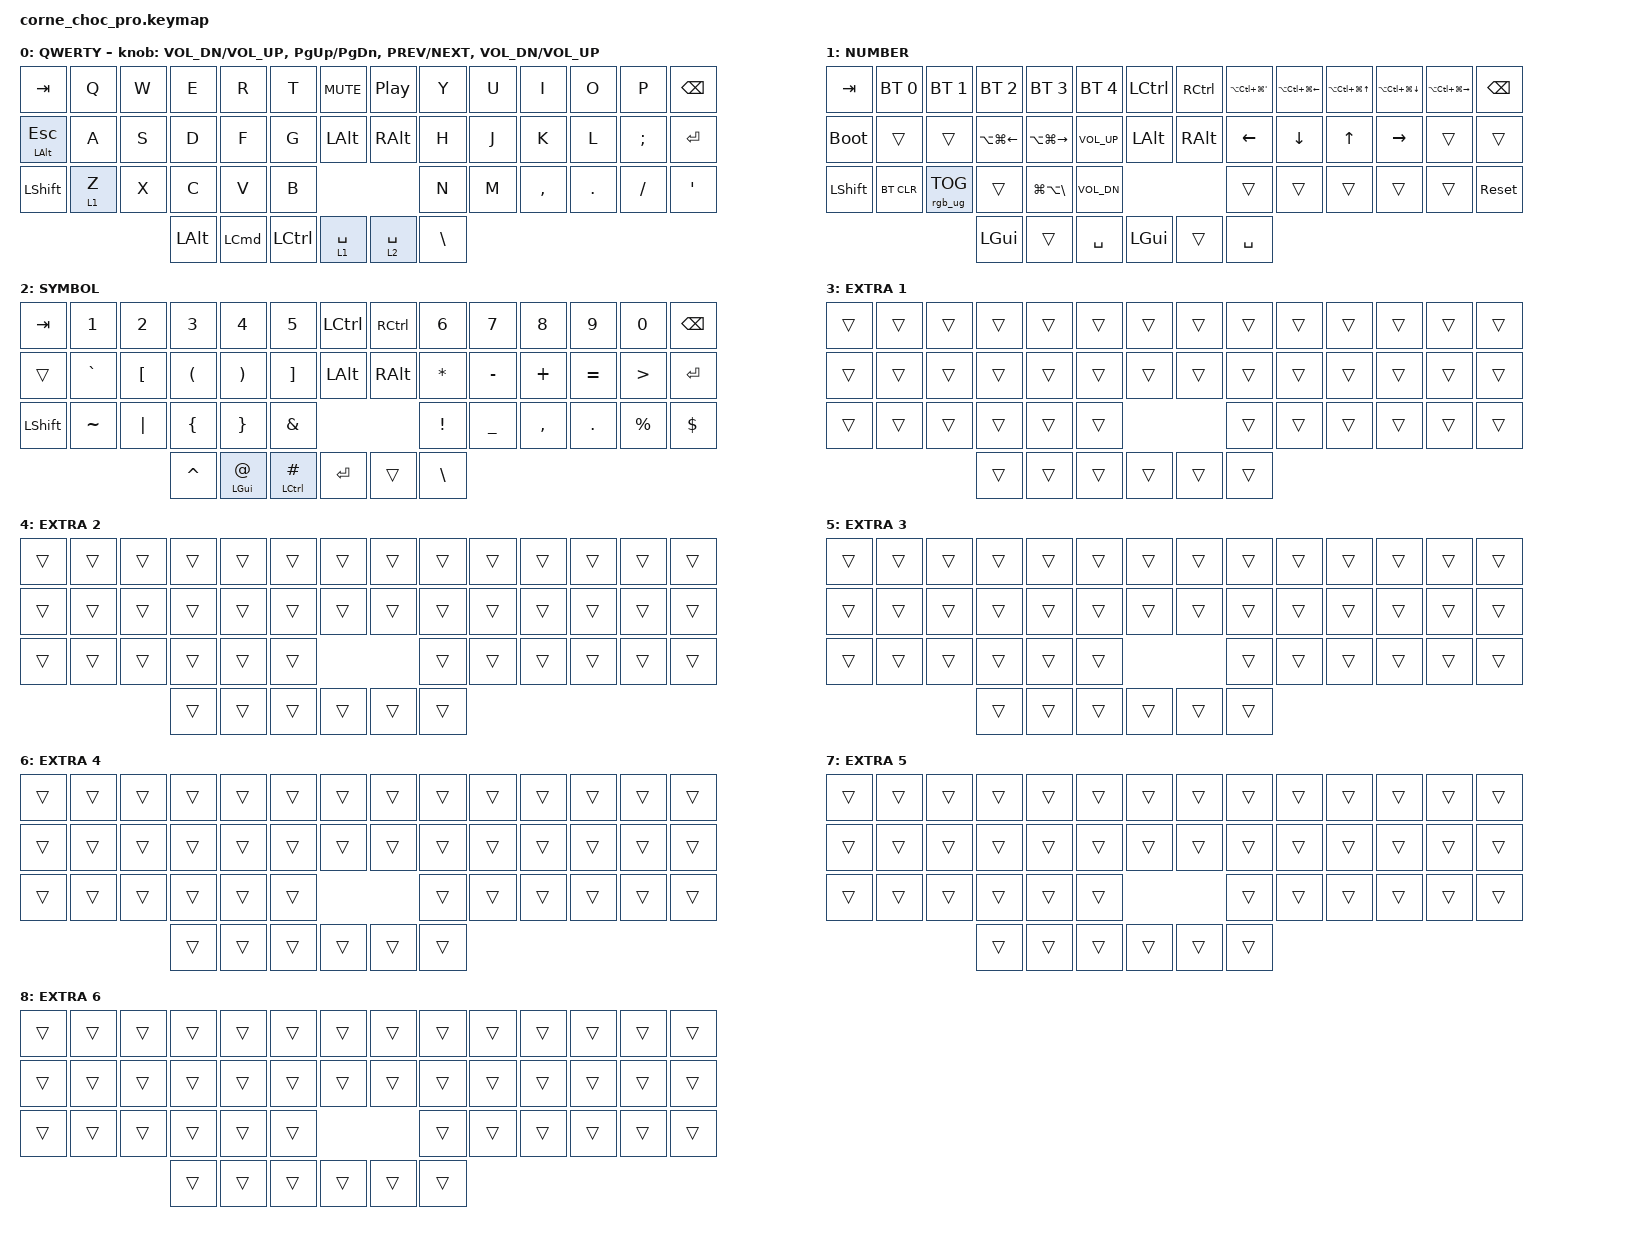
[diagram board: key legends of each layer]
/*
 * Copyright (c) 2020 The ZMK Contributors
 *
 * SPDX-License-Identifier: MIT
 */

#include <behaviors.dtsi>
#include <dt-bindings/zmk/keys.h>
#include <dt-bindings/zmk/bt.h>
#include <dt-bindings/zmk/rgb.h>

/ {
    chosen {
        zmk,physical-layout = &default_layout;
    };
};

/ {
    keymap {
        compatible = "zmk,keymap";

        default_layer {
            display-name = "QWERTY";
            // --------------------------------------------------------------------------------
            // |  TAB |  Q  |  W  |  E  |  R  |  T  |  MUTE |  PP   |  Y  |  U   |  I  |  O  |  P  | BSPC |
            // | A/Esc|  A  |  S  |  D  |  F  |  G  |  LALT |  RALT |  H  |  J   |  K  |  L  |  ;  | RET  |
            // | SHFT | Z/L |  X  |  C  |  V  |  B  |               |  N  |  M   |  ,  |  .  |  /  |  '   |
            //                    | ALT | CMD | CTRL|               | LSP | RSP  |  \  |
            bindings = <
                &kp TAB         &kp Q &kp W &kp E &kp R &kp T &kp C_MUTE &kp C_PP &kp Y &kp U  &kp I     &kp O   &kp P    &kp BSPC
                &mt LEFT_ALT ESC &kp A &kp S &kp D &kp F &kp G &kp LALT   &kp RALT &kp H &kp J  &kp K     &kp L   &kp SEMI &kp RET
                &kp LSHFT       &lt 1 Z &kp X &kp C &kp V &kp B                     &kp N &kp M  &kp COMMA &kp DOT &kp FSLH &kp SQT
                                           &kp LEFT_ALT &kp LCMD &kp LCTRL           &lt 1 SPACE &lt 2 SPACE &kp BACKSLASH
            >;
            sensor-bindings = <&inc_dec_kp C_VOL_DN C_VOL_UP &inc_dec_kp PG_UP PG_DN &inc_dec_kp C_PREV C_NEXT &inc_dec_kp C_VOL_DN C_VOL_UP>;
        };

        lower_layer {
            display-name = "NUMBER";
            // -----------------------------------------------------------------------------------------
            // |  TAB | BT1 | BT2 | BT3 | BT4 | BT5   |  LCTRL | RCTRL | Win'| WinL| WinU| WinD| WinR| BSPC |
            // | BOOT |     |     | DeskL| DeskR| Vol+|  LALT  | RALT  | LFT | DWN |  UP | RGT |     |      |
            // | SHFT | BTCR| RGB |     |  App | Vol- |        |       |     |     |     | RST |     |      |
            //                    | GUI |     | SPC   |        | GUI   |     | SPC |
            bindings = <
                &kp TAB     &bt BT_SEL 0 &bt BT_SEL 1    &bt BT_SEL 2     &bt BT_SEL 3     &bt BT_SEL 4 &kp LCTRL &kp RCTRL &kp LA(LC(LG(SINGLE_QUOTE))) &kp LA(LC(LG(LEFT_ARROW))) &kp LA(LC(LG(UP_ARROW))) &kp LA(LC(LG(DOWN_ARROW))) &kp LA(LC(LG(RIGHT))) &kp BSPC
                &bootloader &trans       &trans          &kp LA(LG(LEFT)) &kp LA(LG(RIGHT)) &kp C_VOL_UP &kp LALT  &kp RALT  &kp LEFT                     &kp DOWN                  &kp UP                    &kp RIGHT                  &trans              &trans
                &kp LSHFT   &bt BT_CLR   &rgb_ug RGB_TOG &trans           &kp LG(LA(BACKSLASH)) &kp C_VOL_DN                 &trans   &trans   &trans                      &trans                    &trans                    &sys_reset
                                                               &kp LGUI    &trans           &kp SPACE                    &kp LGUI &trans   &kp SPACE
            >;
        };

        raise_layer {
            display-name = "SYMBOL";
            // -----------------------------------------------------------------------------------------
            // |  TAB |  1  |  2  |  3  |  4  |  5  | LCTRL | RCTRL |  6  |  7  |  8  |  9  |  0  | BSPC |
            // |      |  `  |  [  |  (  |  )  |  ]  | LALT  | RALT  |  *  |  -  |  +  |  =  |  >  | RET  |
            // | SHFT |  ~  |  |  |  {  |  }  |  &  |               |  !  |  _  |  ,  |  .  |  %  |  $   |
            //                    |  ^  |  @  |  #  |               | RET |     |  \  |
            bindings = <
                &kp TAB   &kp NUMBER_1          &kp NUMBER_2        &kp NUMBER_3          &kp NUMBER_4           &kp N5        &kp LCTRL &kp RCTRL &kp NUMBER_6    &kp NUMBER_7  &kp NUMBER_8 &kp NUMBER_9 &kp NUMBER_0 &kp BACKSPACE
                &trans    &kp GRAVE             &kp LEFT_BRACKET    &kp LEFT_PARENTHESIS  &kp RIGHT_PARENTHESIS  &kp RIGHT_BRACKET &kp LALT &kp RALT &kp ASTERISK    &kp MINUS     &kp PLUS     &kp EQUAL    &kp GT       &kp RET
                &kp LSHFT &kp TILDE             &kp PIPE            &kp LEFT_BRACE        &kp RIGHT_BRACE        &kp AMPERSAND                    &kp EXCLAMATION &kp UNDERSCORE &kp COMMA    &kp PERIOD   &kp PERCENT  &kp DOLLAR
                                                               &kp CARET &mt LEFT_GUI AT_SIGN &mt LCTRL HASH                  &kp RET &trans   &kp BACKSLASH
            >;
        };

        extra_layer_1 {
            display-name = "EXTRA 1";
            bindings = <
                &trans &trans &trans &trans &trans &trans &trans &trans &trans &trans &trans &trans &trans &trans
                &trans &trans &trans &trans &trans &trans &trans &trans &trans &trans &trans &trans &trans &trans
                &trans &trans &trans &trans &trans &trans               &trans &trans &trans &trans &trans &trans
                                     &trans &trans &trans               &trans &trans &trans       
            >;
        };

        extra_layer_2 {
            display-name = "EXTRA 2";
            bindings = <
                &trans &trans &trans &trans &trans &trans &trans &trans &trans &trans &trans &trans &trans &trans
                &trans &trans &trans &trans &trans &trans &trans &trans &trans &trans &trans &trans &trans &trans
                &trans &trans &trans &trans &trans &trans               &trans &trans &trans &trans &trans &trans
                                     &trans &trans &trans               &trans &trans &trans       
            >;
        };

        extra_layer_3 {
            display-name = "EXTRA 3";
            bindings = <
                &trans &trans &trans &trans &trans &trans &trans &trans &trans &trans &trans &trans &trans &trans
                &trans &trans &trans &trans &trans &trans &trans &trans &trans &trans &trans &trans &trans &trans
                &trans &trans &trans &trans &trans &trans               &trans &trans &trans &trans &trans &trans
                                     &trans &trans &trans               &trans &trans &trans       
            >;
        };

        extra_layer_4 {
            display-name = "EXTRA 4";
            bindings = <
                &trans &trans &trans &trans &trans &trans &trans &trans &trans &trans &trans &trans &trans &trans
                &trans &trans &trans &trans &trans &trans &trans &trans &trans &trans &trans &trans &trans &trans
                &trans &trans &trans &trans &trans &trans               &trans &trans &trans &trans &trans &trans
                                     &trans &trans &trans               &trans &trans &trans       
            >;
        };

        extra_layer_5 {
            display-name = "EXTRA 5";
            bindings = <
                &trans &trans &trans &trans &trans &trans &trans &trans &trans &trans &trans &trans &trans &trans
                &trans &trans &trans &trans &trans &trans &trans &trans &trans &trans &trans &trans &trans &trans
                &trans &trans &trans &trans &trans &trans               &trans &trans &trans &trans &trans &trans
                                     &trans &trans &trans               &trans &trans &trans       
            >;
        };

        extra_layer_6 {
            display-name = "EXTRA 6";
            bindings = <
                &trans &trans &trans &trans &trans &trans &trans &trans &trans &trans &trans &trans &trans &trans
                &trans &trans &trans &trans &trans &trans &trans &trans &trans &trans &trans &trans &trans &trans
                &trans &trans &trans &trans &trans &trans               &trans &trans &trans &trans &trans &trans
                                     &trans &trans &trans               &trans &trans &trans       
            >;
        };
    };
};
